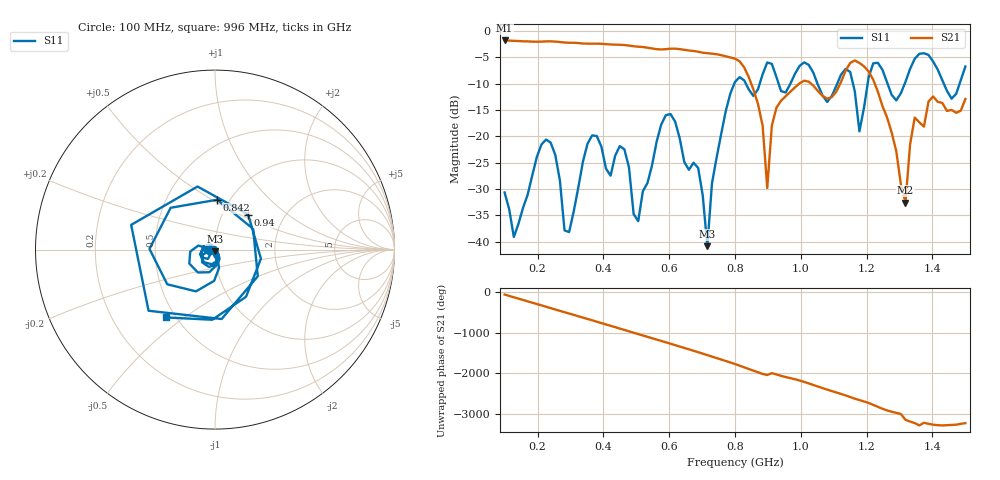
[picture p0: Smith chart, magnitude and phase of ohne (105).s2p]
! NanoVNA-App
! Date: 2025-09-25 14:21:37
! Start: 100MHz Stop: 1,5GHz Points: 101
! S-Parameter data: F S11 S21 S12 S22
# Hz S RI R 50
!  Frequency  S11_Real  S11_Imag  S21_Real  S21_Imag  S12_Real  S12_Imag  S22_Real  S22_Imag
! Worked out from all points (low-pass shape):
!   101 points, 100 MHz to 1.5 GHz, reference 50 ohm
!   highest |S21| = -1.79 dB at 100 MHz (marker M1); lowest = -32.6 dB at 1.318 GHz (marker M2)
!   |S21| within 3 dB of the highest: start of sweep to 771.5 MHz
!   lowest |S11| = -40.8 dB at 716 MHz (marker M3), VSWR 1.02, Z = 49.9 - j0.895 ohm
!   |S11| at or under -10 dB: start of sweep to 797.8 MHz; 833 MHz to 875.1 MHz (42.1 MHz wide, 4.93 % of centre); 1.051 GHz to 1.111 GHz (60.07 MHz wide, 5.56 % of centre) (the widest 3 of 7)
!   S12 and S22 are empty: the file has one direction only
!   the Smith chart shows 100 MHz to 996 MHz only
!   S11 on the Smith chart (normalised r, x): 100 MHz: 0.94, -0.01; 842 MHz: 0.88, +0.53; 940 MHz: 1.32, +0.56; 996 MHz: 0.45, -0.43
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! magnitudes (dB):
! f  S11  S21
! 100 MHz  -30.6  -1.8
! 128 MHz  -39.1  -1.9
! 226 MHz  -20.6  -2.0
! 296 MHz  -38.2  -2.2
! 338 MHz  -24.8  -2.4
! 464 MHz  -22.5  -2.7
! 506 MHz  -36.1  -3.0
! 576 MHz  -17.7  -3.5
! 688 MHz  -26.0  -3.9
! 716 MHz  -40.8  -4.2
! 800 MHz  -9.7  -5.3
! 842 MHz  -11.1  -8.8
! 898 MHz  -6.0  -29.8
! 940 MHz  -11.4  -13.2
! 996 MHz  -6.6  -9.9
! 1.038 GHz  -7.9  -10.4
! 1.178 GHz  -19.0  -6.1
! 1.22 GHz  -6.1  -9.3
! 1.276 GHz  -12.1  -19.3
! 1.318 GHz  -9.6  -32.6
! 1.346 GHz  -5.3  -16.4
! 1.5 GHz  -6.7  -12.9
